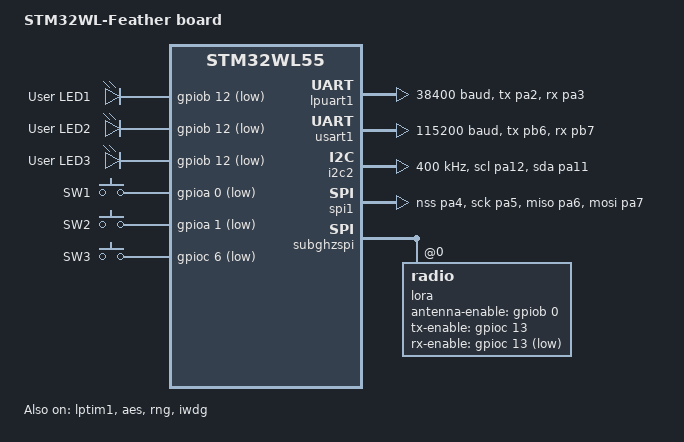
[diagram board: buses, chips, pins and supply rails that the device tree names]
/*
 * Copyright (c) 2021 PureEngineering, LLC
 *
 */

/dts-v1/;
#include <st/wl/stm32wl55Xc.dtsi>
#include <st/wl/stm32wl55ccux-pinctrl.dtsi>

/ {
	model = "STM32WL-Feather board";
	compatible = "st,stm32wl55-nucleo";

	chosen {
		zephyr,console = &usart1;
		zephyr,shell-uart = &usart1;
		zephyr,sram = &sram0;
		zephyr,flash = &flash0;
		zephyr,code-partition = &flash0;
	};

	leds {
		compatible = "gpio-leds";
		blue_led_1: led_0 {
			gpios = <&gpiob 12 GPIO_ACTIVE_LOW>;
			label = "User LED1";
		};
		green_led_2: led_1 {
			gpios = <&gpiob 12 GPIO_ACTIVE_LOW>;
			label = "User LED2";
		};
		green_led_3: led_2 {
			gpios = <&gpiob 12 GPIO_ACTIVE_LOW>;
			label = "User LED3";
		};
	};

	gpio_keys {
		compatible = "gpio-keys";
		user_button_1: button_0 {
			label = "SW1";
			gpios = <&gpioa 0 (GPIO_ACTIVE_LOW | GPIO_PULL_UP)>;
		};
		user_button_2: button_1 {
			label = "SW2";
			gpios = <&gpioa 1 (GPIO_ACTIVE_LOW | GPIO_PULL_UP)>;
		};
		user_button_3: button_2 {
			label = "SW3";
			gpios = <&gpioc 6 (GPIO_ACTIVE_LOW | GPIO_PULL_UP)>;
		};
	};

	aliases {
		led0 = &green_led_2;
		system-led = &green_led_2;
		sw0 = &user_button_1;
		sw1 = &user_button_2;
		sw2 = &user_button_3;
		lora0 = &lora;
		uart = &usart1;
	};

	power-states {
		stop0: state0 {
			compatible = "zephyr,power-state";
			power-state-name = "suspend-to-idle";
			substate-id = <1>;
			min-residency-us = <100>;
		};
		stop1: state1 {
			compatible = "zephyr,power-state";
			power-state-name = "suspend-to-idle";
			substate-id = <2>;
			min-residency-us = <500>;
		};
		stop2: state2 {
			compatible = "zephyr,power-state";
			power-state-name = "suspend-to-idle";
			substate-id = <3>;
			min-residency-us = <900>;
		};
	};
};

&cpu0 {
	cpu-power-states = <&stop0 &stop1 &stop2>;
};

&lptim1 {
	status = "okay";
};

&clk_hsi {
	status = "okay";
};

&pll {
	div-m = <1>;
	mul-n = <6>;
	div-r = <2>;
	div-q = <2>;
	clocks = <&clk_hsi>;
	status = "okay";
};

&rcc {
	clocks = <&pll>;
	clock-frequency = <DT_FREQ_M(48)>;
	cpu1-prescaler = <1>;
	cpu2-prescaler = <1>;
	ahb3-prescaler = <1>;
	apb1-prescaler = <1>;
	apb2-prescaler = <1>;
};

&lpuart1 {
	pinctrl-0 = <&lpuart1_tx_pa2 &lpuart1_rx_pa3>;
	pinctrl-names = "default";
	current-speed = <38400>;
	status = "okay";
};

&usart1 {
	pinctrl-0 = <&usart1_tx_pb6 &usart1_rx_pb7>;
	pinctrl-names = "default";
	current-speed = <115200>;
	status = "okay";
};

&i2c2 {
	pinctrl-0 = <&i2c2_scl_pa12 &i2c2_sda_pa11>;
	pinctrl-names = "default";
	status = "okay";
	clock-frequency = <I2C_BITRATE_FAST>;

	// bme680: bme680@76 {
	// 	compatible = "bosch,bme680";
	// 	reg = <0x76>;
	// };

};

&spi1 {
	pinctrl-0 = <&spi1_nss_pa4 &spi1_sck_pa5
		     &spi1_miso_pa6 &spi1_mosi_pa7>;
	pinctrl-names = "default";
	status = "okay";
};

// &adc1 {
// 	status = "okay";
// };

// &die_temp {
// 	status = "okay";
// };

&aes {
	status = "okay";
};

&rng {
	status = "okay";
};

&iwdg {
	status = "okay";
};

&subghzspi {
	status = "okay";
	lora: radio@0 {
		status = "okay";
		antenna-enable-gpios = <&gpiob 0 GPIO_ACTIVE_HIGH>;
		tx-enable-gpios = <&gpioc 13 GPIO_ACTIVE_HIGH>;
		rx-enable-gpios = <&gpioc 13 GPIO_ACTIVE_LOW>;
		// dio3-tcxo-voltage = <SX126X_DIO3_TCXO_1V7>;
		// tcxo-power-startup-delay-ms = <5>;
	};
};

&flash0 {
	/*
	 * For more information, see:
	 * http://docs.zephyrproject.org/latest/guides/dts/index.html#flash-partitions
	 */
	partitions {
		compatible = "fixed-partitions";
		#address-cells = <1>;
		#size-cells = <1>;

		/*
		 * Set 16kB of storage (8x2kB pages) at the end of the 256kB of
		 * flash.
		 */
		storage_partition: partition@3c000 {
			label = "storage";
			reg = <0x0003c000 0x00004000>;
		};
	};
};
